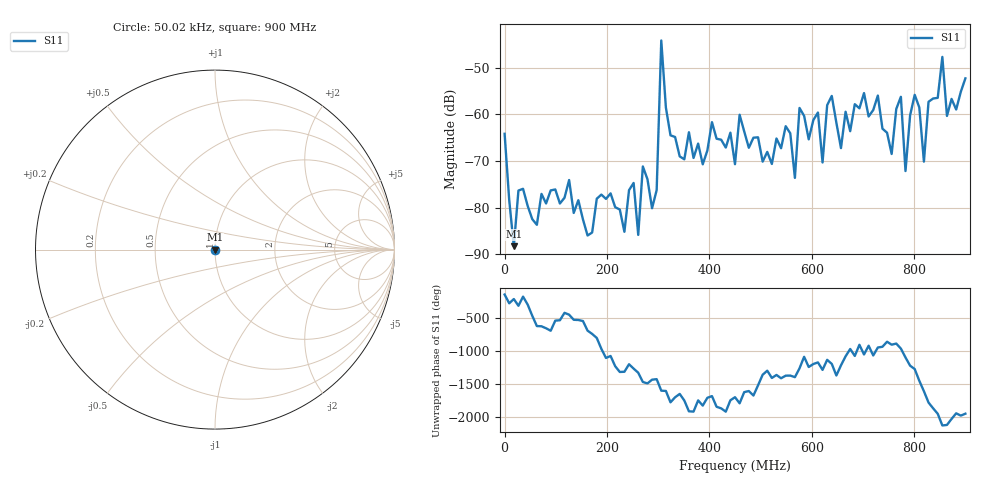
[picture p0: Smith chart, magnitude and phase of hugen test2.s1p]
! File created by NanoVNA (https://gen111.taobao.com/)
! Start 50016Hz  Stop 899999916Hz  Points 101
# HZ S MA R 50
!S - Parameter data, F S11
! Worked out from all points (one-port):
!   101 points, 50.02 kHz to 900 MHz, reference 50 ohm
!   lowest |S11| = -88.3 dB at 18.05 MHz (marker M1), VSWR 1.00, Z = 50 + j0.0016 ohm
!   |S11| at or under -10 dB: start of sweep to end of sweep
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50016  0.00062 -136.1
1.804892e7  3.863e-05 155.5
1.170434e8  0.0001278 -54.5
2.340369e8  5.511e-05 127.2
2.970334e8  0.0001544 14.3
3.060329e8  0.006213 -161.2
3.420309e8  0.0003546 149.5
4.050274e8  0.0008257 116.1
4.500249e8  0.0002925 99.2
4.590244e8  0.000992 6.5
5.220209e8  0.0002941 32.6
5.490194e8  0.0007475 67.4
5.670184e8  0.0002085 44.8
5.760179e8  0.001173 178.8
6.120159e8  0.001048 -90.5
6.210154e8  0.0003051 155.7
6.390144e8  0.001579 -112.5
6.570134e8  0.0004349 -135.0
6.840119e8  0.001287 8.2
7.290094e8  0.001593 136.9
7.560079e8  0.0003766 179.8
7.740069e8  0.001545 120.2
7.830064e8  0.0002471 -14.6
7.920059e8  0.0009771 -140.2
8.190044e8  0.0003116 -170.0
8.550024e8  0.004137 28.9
8.640019e8  0.0009638 36.5
8.999999e8  0.002436 -152.0
